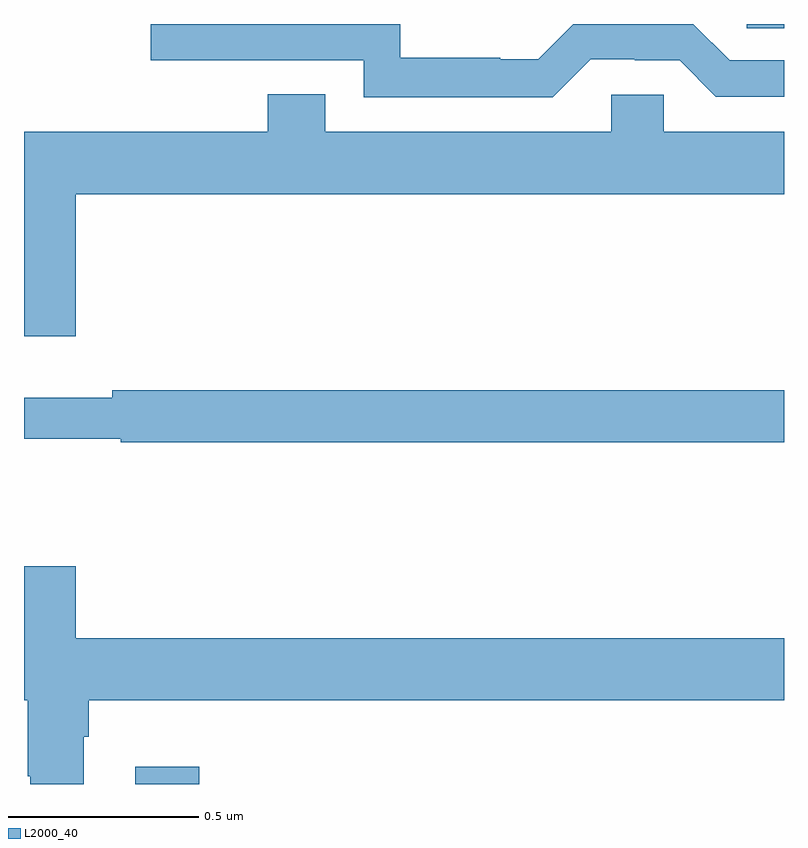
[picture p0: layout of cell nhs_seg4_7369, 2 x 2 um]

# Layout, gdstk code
import gdstk
lib = gdstk.Library(unit=1e-6, precision=1e-09)
def R(c, l, rs):  # rectangles x0, y0, x1, y1
    for r in rs: c.add(gdstk.rectangle(r[:2], r[2:], *l))
def P(c, l, *ps):  # polygons
    for p in ps: c.add(gdstk.Polygon(p, *l))
L2000_40 = (2000, 40)

nhs_seg4_7369 = lib.new_cell('nhs_seg4_7369')
R(nhs_seg4_7369, L2000_40, [(201.293,829.9,201.461,829.945), (202.902,831.889,203,831.9)])
P(nhs_seg4_7369, L2000_40, [(202.491,831.807),(202.607,831.807),(202.607,831.804),(202.725,831.804),(202.821,831.708),(203,831.708),(203,831.804),(202.857,831.804),(202.761,831.9),(202.446,831.9),(202.353,831.807),(202.253,831.807),(202.253,831.811),(201.99,831.811),(201.99,831.9),(201.333,831.9),(201.333,831.804),(201.894,831.804),(201.894,831.707),(202.391,831.707)],
  [(201.136,831.452),(203,831.452),(203,831.616),(202.683,831.616),(202.683,831.714),(202.545,831.714),(202.545,831.616),(201.793,831.616),(201.793,831.715),(201.641,831.715),(201.641,831.616),(201,831.616),(201,831.078),(201.136,831.078)],
  [(203,830.936),(201.232,830.936),(201.232,830.917),(201,830.917),(201,830.808),(201.255,830.808),(201.255,830.8),(203,830.8)],
  [(201.157,830.024),(201.17,830.024),(201.17,830.12),(203,830.12),(203,830.284),(201.136,830.284),(201.136,830.473),(201,830.473),(201,830.12),(201.01,830.12),(201.01,829.921),(201.017,829.921),(201.017,829.9),(201.157,829.9)])

lib.write_gds('nhs_seg4_7369.gds')
